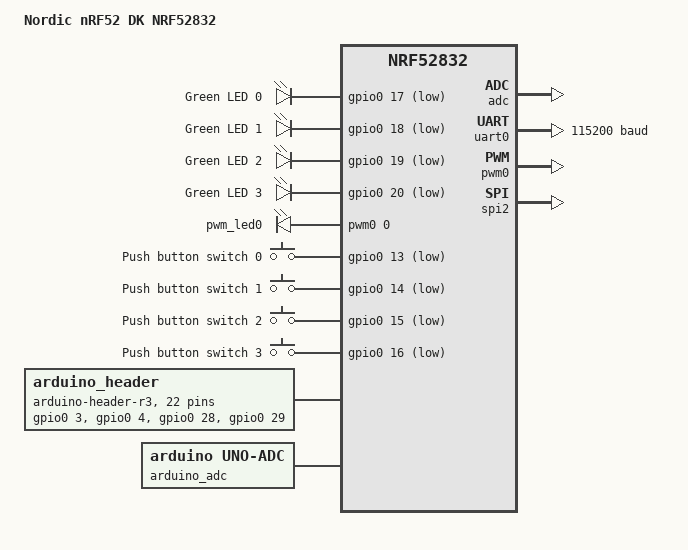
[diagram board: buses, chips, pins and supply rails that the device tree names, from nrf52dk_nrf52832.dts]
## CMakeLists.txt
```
cmake_minimum_required(VERSION 3.20.0)


if(DEFINED CUSTOM_BOILERPLATE)
    include(${CUSTOM_BOILERPLATE})
    return()
endif()

set(COMMON_PATH ${CMAKE_CURRENT_LIST_DIR}/common)
include(${COMMON_PATH}/common.cmake)

GET_DEVICE_CONFIG_FILES(${BOARD} ../boards)
include_directories(
src 
)
find_package(Zephyr REQUIRED HINTS $ENV{ZEPHYR_BASE})
project(nrfx_example)
target_sources(app PRIVATE 
src/main.c
src/bluetooth/BLE.c
src/includes/MAX30003.h)
# target_compile_options(-w)
add_definitions(-w)
target_include_directories(app PRIVATE ./common)
```

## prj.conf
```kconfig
CONFIG_NRFX_SPIM1=y
# CONFIG_NRFX_SPI0=y
CONFIG_GPIO=y
# CONFIG_LOG_MODE_IMMEDIATE=y
# CONFIG_LOG_MODE_DEFERRED=n
CONFIG_LOG=y
CONFIG_PRINTK=y
CONFIG_CBPRINTF_FP_SUPPORT=y
CONFIG_BT=y
CONFIG_BT_PERIPHERAL=y
CONFIG_BT_DEVICE_NAME="Nordic_LBS"
# Enable the LBS service
# CONFIG_BT_LBS=y
# CONFIG_BT_LBS_POLL_BUTTON=y
CONFIG_DK_LIBRARY=y
# Increase stack size for the main thread and System Workqueue
CONFIG_SYSTEM_WORKQUEUE_STACK_SIZE=2048
CONFIG_MAIN_STACK_SIZE=20000
CONFIG_LOG_BUFFER_SIZE=10240

CONFIG_IDLE_STACK_SIZE=2048
#ringbuffer
CONFIG_RING_BUFFER=y
CONFIG_TIMING_FUNCTIONS=y
CONFIG_NCS_SAMPLES_DEFAULTS=y
CONFIG_BT_L2CAP_TX_MTU=247


CONFIG_RTC=y
CONFIG_NRFX_RTC2=y
```

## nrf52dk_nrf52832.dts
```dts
/*
 * Copyright (c) 2017 Shawn Nock <shawn@monadnock.ca>
 * Copyright (c) 2017 Linaro Limited
 *
 * SPDX-License-Identifier: Apache-2.0
 */

/dts-v1/;
#include <nordic/nrf52832_qfaa.dtsi>
#include "nrf52dk_nrf52832-pinctrl.dtsi"
#include <zephyr/dt-bindings/input/input-event-codes.h>

/ {
	model = "Nordic nRF52 DK NRF52832";
	compatible = "nordic,nrf52-dk-nrf52832";

	chosen {
		zephyr,console = &uart0;
		zephyr,shell-uart = &uart0;
		zephyr,uart-mcumgr = &uart0;
		zephyr,bt-mon-uart = &uart0;
		zephyr,bt-c2h-uart = &uart0;
		zephyr,sram = &sram0;
		zephyr,flash = &flash0;
		zephyr,code-partition = &slot0_partition;
	};

	leds {
		compatible = "gpio-leds";
		led0: led_0 {
			gpios = <&gpio0 17 GPIO_ACTIVE_LOW>;
			label = "Green LED 0";
		};
		led1: led_1 {
			gpios = <&gpio0 18 GPIO_ACTIVE_LOW>;
			label = "Green LED 1";
		};
		led2: led_2 {
			gpios = <&gpio0 19 GPIO_ACTIVE_LOW>;
			label = "Green LED 2";
		};
		led3: led_3 {
			gpios = <&gpio0 20 GPIO_ACTIVE_LOW>;
			label = "Green LED 3";
		};
	};

	pwmleds {
		compatible = "pwm-leds";
		pwm_led0: pwm_led_0 {
			pwms = <&pwm0 0 PWM_MSEC(20) PWM_POLARITY_INVERTED>;
		};
	};

	buttons {
		compatible = "gpio-keys";
		button0: button_0 {
			gpios = <&gpio0 13 (GPIO_PULL_UP | GPIO_ACTIVE_LOW)>;
			label = "Push button switch 0";
			zephyr,code = <INPUT_KEY_0>;
		};
		button1: button_1 {
			gpios = <&gpio0 14 (GPIO_PULL_UP | GPIO_ACTIVE_LOW)>;
			label = "Push button switch 1";
			zephyr,code = <INPUT_KEY_1>;
		};
		button2: button_2 {
			gpios = <&gpio0 15 (GPIO_PULL_UP | GPIO_ACTIVE_LOW)>;
			label = "Push button switch 2";
			zephyr,code = <INPUT_KEY_2>;
		};
		button3: button_3 {
			gpios = <&gpio0 16 (GPIO_PULL_UP | GPIO_ACTIVE_LOW)>;
			label = "Push button switch 3";
			zephyr,code = <INPUT_KEY_3>;
		};
	};

	arduino_header: connector {
		compatible = "arduino-header-r3";
		#gpio-cells = <2>;
		gpio-map-mask = <0xffffffff 0xffffffc0>;
		gpio-map-pass-thru = <0 0x3f>;
		gpio-map = <0 0 &gpio0 3 0>,	/* A0 */
			   <1 0 &gpio0 4 0>,	/* A1 */
			   <2 0 &gpio0 28 0>,	/* A2 */
			   <3 0 &gpio0 29 0>,	/* A3 */
			   <4 0 &gpio0 30 0>,	/* A4 */
			   <5 0 &gpio0 31 0>,	/* A5 */
			   <6 0 &gpio0 11 0>,	/* D0 */
			   <7 0 &gpio0 12 0>,	/* D1 */
			   <8 0 &gpio0 13 0>,	/* D2 */
			   <9 0 &gpio0 14 0>,	/* D3 */
			   <10 0 &gpio0 15 0>,	/* D4 */
			   <11 0 &gpio0 16 0>,	/* D5 */
			   <12 0 &gpio0 17 0>,	/* D6 */
			   <13 0 &gpio0 18 0>,	/* D7 */
			   <14 0 &gpio0 19 0>,	/* D8 */
			   <15 0 &gpio0 20 0>,	/* D9 */
			   <16 0 &gpio0 22 0>,	/* D10 */
			   <17 0 &gpio0 23 0>,	/* D11 */
			   <18 0 &gpio0 24 0>,	/* D12 */
			   <19 0 &gpio0 25 0>,	/* D13 */
			   <20 0 &gpio0 26 0>,	/* D14 */
			   <21 0 &gpio0 27 0>;	/* D15 */
	};

	arduino_adc: analog-connector {
		compatible = "arduino,uno-adc";
		#io-channel-cells = <1>;
		io-channel-map = <0 &adc 1>,	/* A0 = P0.3 = AIN1 */
				 <1 &adc 2>,	/* A1 = P0.4 = AIN2 */
				 <2 &adc 4>,	/* A2 = P0.28 = AIN4 */
				 <3 &adc 5>,	/* A3 = P0.29 = AIN5 */
				 <4 &adc 6>,	/* A4 = P0.30 = AIN6 */
				 <5 &adc 7>;	/* A5 = P0.31 = AIN7 */
	};

	/* These aliases are provided for compatibility with samples */
	aliases {
		led0 = &led0;
		led1 = &led1;
		led2 = &led2;
		led3 = &led3;
		pwm-led0 = &pwm_led0;
		sw0 = &button0;
		sw1 = &button1;
		sw2 = &button2;
		sw3 = &button3;
		bootloader-led0 = &led0;
		mcuboot-button0 = &button0;
		mcuboot-led0 = &led0;
		watchdog0 = &wdt0;
	};
};

&adc {
	status = "okay";
};

&uicr {
	gpio-as-nreset;
};

&gpiote {
	status = "okay";
};

&gpio0 {
	status = "okay";
};

arduino_serial: &uart0 {
	status = "okay";
	compatible = "nordic,nrf-uarte";
	current-speed = <115200>;
	pinctrl-0 = <&uart0_default>;
	pinctrl-1 = <&uart0_sleep>;
	pinctrl-names = "default", "sleep";
};

arduino_i2c: &i2c0 {
	compatible = "nordic,nrf-twi";
	// status = "okay";
	pinctrl-0 = <&i2c0_default>;
	pinctrl-1 = <&i2c0_sleep>;
	pinctrl-names = "default", "sleep";
};

&i2c1 {
	compatible = "nordic,nrf-twi";
	/* Cannot be used together with spi1. */
	/* status = "okay"; */
	pinctrl-0 = <&i2c1_default>;
	pinctrl-1 = <&i2c1_sleep>;
	pinctrl-names = "default", "sleep";
};

&pwm0 {
	status = "okay";
	pinctrl-0 = <&pwm0_default>;
	pinctrl-1 = <&pwm0_sleep>;
	pinctrl-names = "default", "sleep";
};

&spi0 {
	compatible = "nordic,nrf-spi";
	/* Cannot be used together with i2c0. */
	/* status = "okay"; */
	pinctrl-0 = <&spi0_default>;
	pinctrl-1 = <&spi0_sleep>;
	pinctrl-names = "default", "sleep";
};

&spi1 {
	compatible = "nordic,nrf-spi";
	// status = "okay";
	pinctrl-0 = <&spi1_default>;
	pinctrl-1 = <&spi1_sleep>;
	pinctrl-names = "default", "sleep";
};

arduino_spi: &spi2 {
	compatible = "nordic,nrf-spi";
	status = "okay";
	cs-gpios = <&arduino_header 16 GPIO_ACTIVE_LOW>; /* D10 */
	pinctrl-0 = <&spi2_default>;
	pinctrl-1 = <&spi2_sleep>;
	pinctrl-names = "default", "sleep";
};

&flash0 {

	partitions {
		compatible = "fixed-partitions";
		#address-cells = <1>;
		#size-cells = <1>;

		boot_partition: partition@0 {
			label = "mcuboot";
			reg = <0x00000000 0xc000>;
		};
		slot0_partition: partition@c000 {
			label = "image-0";
			reg = <0x0000C000 0x37000>;
		};
		slot1_partition: partition@43000 {
			label = "image-1";
			reg = <0x00043000 0x37000>;
		};
		storage_partition: partition@7a000 {
			label = "storage";
			reg = <0x0007a000 0x00006000>;
		};
	};
};
```

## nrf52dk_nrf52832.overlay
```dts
#include "./common/common-pinctrl.dtsi"


/{

    gpiocustom {
        compatible = "gpio-keys" ;
        gpiocust1: gpio_1 {
            gpios = <&gpio0 2 (GPIO_ACTIVE_LOW | GPIO_PULL_UP)>;
            label = " csutom pin 2";
        };
        gpiocust2: gpio_2 {
            gpios = <&gpio0 28 ( GPIO_ACTIVE_LOW | GPIO_PULL_UP)>;
            label = " csutom pin 28";
        };
     
		// gpiocust3: gpio_3 {
        //     gpios = <&gpio0 3 ( GPIO_PULL_UP)>;
        //     label = " MOSI";
        // };
		// gpiocust4: gpio_4 {
        //     gpios = <&gpio0 31 (  GPIO_PULL_UP)>;
        //     label = " MISO";
        // };
		

     };
};

&i2c0 {	status = "disabled";};
&spi0 {	status = "okay";};
&i2c1 {	status = "disabled";};

&spi1 {
    status = "disabled";
    compatible = "nordic,nrf-spim";
    pinctrl-0 = <&spi1_default>;
	pinctrl-1 = <&spi1_sleep>;
};

&pinctrl {
	// spi1_default: spi1_default {
	// 	group1 {
	// 			psels = <NRF_PSEL(SPIM_SCK, 0, 4)>,
	// 					<NRF_PSEL(SPIM_MOSI, 0, 6)>,
	// 					<NRF_PSEL(SPIM_MISO, 0, 7)>;
	// 	};
	// };

	// spi1_sleep: spi1_sleep {
	// 	group1 {
	// 			psels = <NRF_PSEL(SPIM_SCK, 0, 4)>,
	// 					<NRF_PSEL(SPIM_MOSI, 0, 6)>,
	// 					<NRF_PSEL(SPIM_MISO, 0, 7)>;
	// 			low-power-enable;
	// 	};
	// };
};
&arduino_header {
    gpio-map = <0 0 &gpio0 3 0>,
               <1 0 &gpio0 4 0>,
               <2 0 &gpio0 28 0>,
               <3 0 &gpio0 29 0>,
               <4 0 &gpio0 30 0>,
               <5 0 &gpio0 31 0>,
               <6 0 &gpio0 11 0>,
               <7 0 &gpio0 12 0>,
               <8 0 &gpio0 13 0>,
               <9 0 &gpio0 14 0>,
               <10 0 &gpio0 15 0>,
               <11 0 &gpio0 16 0>,
               <12 0 &gpio0 17 0>,
               <13 0 &gpio0 18 0>,
               <14 0 &gpio0 19 0>,
               <15 0 &gpio0 20 0>,
               <16 0 &gpio0 22 0>,
               <17 0 &gpio0 23 0>,
               <18 0 &gpio0 24 0>,
               <19 0 &gpio0 25 0>,
               <20 0 &gpio0 26 0>,
               <21 0 &gpio0 27 0>;
};
```

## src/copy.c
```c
/*
 * Copyright (c) 2022 - 2024, Nordic Semiconductor ASA
 * All rights reserved.
 *
 * SPDX-License-Identifier: BSD-3-Clause
 *
 * Redistribution and use in source and binary forms, with or without
 * modification, are permitted provided that the following conditions are met:
 *
 * 1. Redistributions of source code must retain the above copyright notice, this
 *    list of conditions and the following disclaimer.
 *
 * 2. Redistributions in binary form must reproduce the above copyright
 *    notice, this list of conditions and the following disclaimer in the
 *    documentation and/or other materials provided with the distribution.
 *
 * 3. Neither the name of the copyright holder nor the names of its
 *    contributors may be used to endorse or promote products derived from this
 *    software without specific prior written permission.
 *
 * THIS SOFTWARE IS PROVIDED BY THE COPYRIGHT HOLDERS AND CONTRIBUTORS "AS IS"
 * AND ANY EXPRESS OR IMPLIED WARRANTIES, INCLUDING, BUT NOT LIMITED TO, THE
 * IMPLIED WARRANTIES OF MERCHANTABILITY AND FITNESS FOR A PARTICULAR PURPOSE
 * ARE DISCLAIMED. IN NO EVENT SHALL THE COPYRIGHT HOLDER OR CONTRIBUTORS BE
 * LIABLE FOR ANY DIRECT, INDIRECT, INCIDENTAL, SPECIAL, EXEMPLARY, OR
 * CONSEQUENTIAL DAMAGES (INCLUDING, BUT NOT LIMITED TO, PROCUREMENT OF
 * SUBSTITUTE GOODS OR SERVICES; LOSS OF USE, DATA, OR PROFITS; OR BUSINESS
 * INTERRUPTION) HOWEVER CAUSED AND ON ANY THEORY OF LIABILITY, WHETHER IN
 * CONTRACT, STRICT LIABILITY, OR TORT (INCLUDING NEGLIGENCE OR OTHERWISE)
 * ARISING IN ANY WAY OUT OF THE USE OF THIS SOFTWARE, EVEN IF ADVISED OF THE
 * POSSIBILITY OF SUCH DAMAGE.
 */
#include <zephyr/kernel.h>
#include <nrfx_example.h>
#include <nrfx_spim.h>
#include <zephyr/drivers/gpio.h>
#include <includes/MAX30003.h>
#include <nrfx_log.h>
#include <zephyr/sys/time_units.h>
#include <stdlib.h>
#include <zephyr/timing/timing.h>
#include <zephyr/bluetooth/bluetooth.h>
#include <zephyr/bluetooth/hci.h>
#include <zephyr/bluetooth/conn.h>
#include <zephyr/bluetooth/uuid.h>
#include <zephyr/bluetooth/gatt.h>
#include <bluetooth/BLE.h>
// #include <zephyr/sys/printk.h>
#define NRFX_LOG_MODULE                 EXAMPLE
#define NRFX_EXAMPLE_CONFIG_LOG_ENABLED 1
#define NRFX_EXAMPLE_CONFIG_LOG_LEVEL   3

// SPIM pin initializaiton 
#define SPIM_INST_IDX 1
#define MO_PIN 3
#define MI_PIN 31
#define SCLK_PIN 4
#define MSG_TO_SEND "Nordic Semiconductor"
#define SS_PIN 27
nrfx_spim_t spim_inst = NRFX_SPIM_INSTANCE(SPIM_INST_IDX);
static const struct gpio_dt_spec intB_gpio_pin =   GPIO_DT_SPEC_GET_OR(DT_NODELABEL(gpiocust1), gpios, {0});
static const struct gpio_dt_spec intB_gpio_pin_time =   GPIO_DT_SPEC_GET_OR(DT_NODELABEL(gpiocust2), gpios, {0});
// static const struct gpio_dt_spec MISO =   GPIO_DT_SPEC_GET_OR(DT_NODELABEL(gpiocust4), gpios, {0});
// static const struct gpio_dt_spec MOSI =   GPIO_DT_SPEC_GET_OR(DT_NODELABEL(gpiocust3), gpios, {0});


// Maxim30003 bit constants
int EINT_STATUS =  1 << 23;
int RTOR_STATUS =  1 << 10;
int DCL_OFF = 1<<20;
int DCL_ON = 1<<11; 
int RTOR_REG_OFFSET = 10;
float RTOR_LSB_RES = 0.0078125f;
int FIFO_OVF =  0x7;
int FIFO_VALID_SAMPLE =  0x0;
int FIFO_FAST_SAMPLE =  0x1;
int ETAG_BITS = 0x7;
int FIFO_EMPTY = 0x6;

#define ADC_NUMBER_OF_BITS   (18u)
#define ADC_SIGN_MASK        (1u << (ADC_NUMBER_OF_BITS-1))
#define ADC_NUMBER_MASK      (ADC_SIGN_MASK-1u)
#define ADC_FIELD_MASK       (ADC_SIGN_MASK | ADC_NUMBER_MASK)

//Maxim registers
union GeneralConfiguration_u CNFG_GEN_r;
union CalConfiguration_u CAL_CONFG_r;
  union EnableInterrupts_u EN_INT_r;
	union ECGConfiguration_u CNFG_ECG_r;
   	union RtoR1Configuration_u CNFG_RTOR_r;
    union ManageInterrupts_u MNG_INT_r;
     union ManageDynamicModes_u MNG_DYN_r;
    union MuxConfiguration_u CNFG_MUX_r;
// ECG related buffers and variables
volatile bool ecgIntFlag = false;
volatile uint8_t m_tx_buffer[4];
volatile uint8_t m_rx_buffer[4];
static uint8_t ecg_tx_buffer[13];
static uint8_t ecg_rx_buffer[13];

static uint8_t txB[1];
static uint8_t rxB;
uint32_t RtoR, idx, stat;

uint8_t ETAG[32];
uint32_t ecgFIFO;
int32_t ecgSample[17];
float BPM=0.0f;

volatile bool spiXferComplete = false;

// #define nodeId DT_NODELABEL(test)
// timing vars
int64_t ecg_start, ecg_end, ecg_start_m, ecg_end_m;
  

void spin(){
    while(!spiXferComplete){
      // printk("\n spinning \n");
    }
    spiXferComplete = false;
}
void writeRegister(enum Registers_e reg, const uint32_t data)
{
    
	m_tx_buffer[0] = reg << 1;
	m_tx_buffer[1] = ((0x00FF0000 & data) >> 16);
	m_tx_buffer[2] = ((0x0000FF00 & data) >> 8);
	m_tx_buffer[3] = ( 0x000000FF & data);
    nrfx_spim_xfer_desc_t spim_xfer_desc = NRFX_SPIM_XFER_TRX(m_tx_buffer, sizeof(m_tx_buffer), m_rx_buffer, sizeof(m_rx_buffer));
    gpio_pin_set_dt(&intB_gpio_pin_time, 1);
    nrfx_spim_xfer(&spim_inst, &spim_xfer_desc, 0);
    
    spin();
    gpio_pin_set_dt(&intB_gpio_pin_time, 0);
    k_msleep(100);
    printk("\n");
}

uint32_t readRegister(enum Registers_e reg)
{
  
  nrfx_err_t err;
    uint32_t data = 0;
	m_tx_buffer[0] = ((reg << 1) | 1);
    m_tx_buffer[1] = 0x00;
    m_tx_buffer[2] = 0x00;
    m_tx_buffer[3] = 0x00;

    m_rx_buffer[0] = 7;
    m_rx_buffer[1] = 7;
    m_rx_buffer[2] = 7;
    m_rx_buffer[3] = 7;
    txB[0] = m_tx_buffer[0];
    gpio_pin_set_dt(&intB_gpio_pin_time, 1);
    nrfx_spim_xfer_desc_t spim_xfer_desc = NRFX_SPIM_XFER_TRX(m_tx_buffer, sizeof(m_tx_buffer), m_rx_buffer, sizeof(m_rx_buffer));
    nrfx_spim_xfer(&spim_inst, &spim_xfer_desc, 0);
    spin();
    gpio_pin_set_dt(&intB_gpio_pin_time, 0);
	data |= m_rx_buffer[1] ;
    data = data << 8;
    data |= m_rx_buffer[2] ;
    data = data << 8;
     data |= m_rx_buffer[3] ;
    //  k_msleep(100);
     //printk("\ndata rxd %u %u %u %u\n", m_rx_buffer[0],m_rx_buffer[1],m_rx_buffer[2],m_rx_buffer[3]);
    return data;
   
}


uint32_t* readECG(enum Registers_e reg)
{
    ecg_tx_buffer[0] = ((reg << 1) | 1);
    nrfx_spim_xfer_desc_t spim_xfer_desc = NRFX_SPIM_XFER_TRX(ecg_tx_buffer, sizeof(ecg_tx_buffer), ecg_rx_buffer, sizeof(ecg_rx_buffer));
    nrfx_spim_xfer(&spim_inst, &spim_xfer_desc, 0);
    uint32_t* data = malloc(sizeof(uint32_t)* 4);
    for(int i = 0; i<4  ; i++){
        uint32_t dIn = 0;
        dIn |= ecg_rx_buffer[(3*i)+1] ;
        dIn = dIn << 8;
        dIn |= ecg_rx_buffer[(3*i)+2] ;
        dIn = dIn << 8;
        dIn |= ecg_rx_buffer[(3*i)+3] ;
        data[i] = dIn;
    }
    return data;
}

  
    // union ECG_FIFO_BURST

void regCheck(){
    EN_INT_r.all = 0x80000;
  writeRegister( EN_INT , EN_INT_r.all);
    printk("%x\n",readRegister(EN_INT));
    NRFX_EXAMPLE_LOG_PROCESS();
}


void ecg_config2(){
  writeRegister( SW_RST , 0);
  CNFG_GEN_r.all = 0x80000;
    writeRegister( CNFG_GEN , 0x80000);
    CAL_CONFG_r.all = 0;
      writeRegister( CNFG_CAL , 0);
        CNFG_MUX_r.all = 0;
        writeRegister( CNFG_EMUX , 0);
        CNFG_ECG_r.all = 0x805000;
          writeRegister( CNFG_ECG , 0x805000);
          CNFG_RTOR_r.all = 0x3F6300;
            writeRegister( CNFG_RTOR1 , 0x3F6300); 
            writeRegister( CNFG_RTOR2 , 0x202400);
            //  writeRegister( CNFG_RTOR1 , 0x3F6300);
}
void ecg_config() { 
    writeRegister( SW_RST , 0);
     
    // General config register setting
    
    CNFG_GEN_r.bits.en_ecg = 1;     // Enable ECG channel
    CNFG_GEN_r.bits.rbiasn = 1   ;  // Enable resistive bias on negative input
    CNFG_GEN_r.bits.rbiasp = 1;     // Enable resistive bias on positive input
    CNFG_GEN_r.bits.en_rbias = 1;   // Enable resistive bias
     CNFG_GEN_r.bits.imag = 2;       // Current magnitude = 10nA
    // CNFG_GEN_r.bits.fmstr = 0;
    CNFG_GEN_r.bits.en_dcloff = 1;  // Enable DC lead-off detection   
    //printk("CNFG_GEN_r.all %x\n",CNFG_GEN_r.all);
    //CNFG_GEN_r.all = 0x081007;
    writeRegister( CNFG_GEN , CNFG_GEN_r.all);
 
    
    // ECG Config register setting
   
    CNFG_ECG_r.bits.dlpf = 1;       // Digital LPF cutoff = 40Hz
    CNFG_ECG_r.bits.dhpf = 1;       // Digital HPF cutoff = 0.5Hz
    CNFG_ECG_r.bits.gain = 3;       // ECG gain = 160V/V, 3
    CNFG_ECG_r.bits.rate = 2;   //chng ss from 2(128sps) to 0(512sps)    // Sample rate = 128 sps
    //CNFG_ECG_r.all = 0x005000;
    writeRegister( CNFG_ECG , CNFG_ECG_r.all);
    //printk("CNFG_ECG_r.all %u\n",CNFG_ECG_r.all);  

 
    
   
    CNFG_RTOR_r.bits.wndw = 0b0011;         // WNDW       = 96ms
    CNFG_RTOR_r.bits.en_rtor = 1; // enabling rtor detection 
    CNFG_RTOR_r.bits.rgain = 0b1111;        // Auto-scale gain
    CNFG_RTOR_r.bits.pavg = 0b11;           // 16-average
    CNFG_RTOR_r.bits.ptsf = 0b0011;         // PTSF = 4/16
    CNFG_RTOR_r.bits.en_rtor = 1;           // Enable R-to-R detection 1->0
    writeRegister( CNFG_RTOR1 , CNFG_RTOR_r.all);
     
        
    //Manage interrupts register setting
    
    MNG_INT_r.bits.efit = 1;//;          // Assert EINT w/ 4 unread samples
    MNG_INT_r.bits.clr_rrint = 1;// Clear R-to-R on RTOR reg. read back
    //  MNG_INT_r.bits.clr_samp= 1;
    writeRegister( MNGR_INT , MNG_INT_r.all);
  
    // printk("MNG_INT_r.all %u\n",MNG_INT_r.all);
    
    
    //Enable interrupts register setting
    
    EN_INT_r.bits.en_eint = 1;              // Enable EINT interrupt
    // EN_INT_r.bits.en_dcloffint = 0; // ak
    // EN_INT_r.bits.en_loint = 0 ;//ak
    // EN_INT_r.bits.en_pllint = 1 ;//ak
// EN_INT_r.bits.en_samp = 0;
    EN_INT_r.bits.en_rrint = 1;             // Enable R-to-R interrupt
    EN_INT_r.bits.intb_type = 3;            // Open-drain NMOS with internal pullup
    writeRegister( EN_INT , EN_INT_r.all);
  
       
    //Dyanmic modes config
    MNG_DYN_r.bits.fast = 0;                // Fast recovery mode disabled
    writeRegister( MNGR_DYN , MNG_DYN_r.all);
    // MUX Config
    CNFG_MUX_r.bits.openn = 0;          // Connect ECGN to AFE channel ss-> (0->1)
    CNFG_MUX_r.bits.openp = 0;          // Connect ECGP to AFE channel ss-> (0->1)
    //ss
    // CNFG_MUX_r.bits.caln_sel = 1;
   writeRegister( CNFG_EMUX , CNFG_MUX_r.all);

// //ss
//    union CalConfiguration_u CAL_CONFG_r;
//    CAL_CONFG_r.bits.en_vcal = 1;
//    CAL_CONFG_r.bits.vmode = 0;
//    CAL_CONFG_r.bits.fcal = 1;
//    writeRegister( CNFG_CAL , CAL_CONFG_r.all);
    
    return;
}  
static struct gpio_callback maxim_intB;

void maxim_interrupt(){
    // ecg_start = k_uptime_get();
    //printk("\nintterupted\n");
    ecgIntFlag = true; 
    
}

#define DEVICE_NAME CONFIG_BT_DEVICE_NAME
#define DEVICE_NAME_LEN (sizeof(DEVICE_NAME) - 1)

#define RUN_STATUS_LED DK_LED1
#define CON_STATUS_LED DK_LED2
#define RUN_LED_BLINK_INTERVAL 25

#define USER_LED DK_LED3

#define USER_BUTTON DK_BTN1_MSK

static bool app_button_state;

static const struct bt_data ad[] = {
	BT_DATA_BYTES(BT_DATA_FLAGS, (BT_LE_AD_GENERAL | BT_LE_AD_NO_BREDR)),
	BT_DATA(BT_DATA_NAME_COMPLETE, DEVICE_NAME, DEVICE_NAME_LEN),
};

static const struct bt_data sd[] = {
	BT_DATA_BYTES(BT_DATA_UUID128_ALL, BT_UUID_LBS_VAL),
};

static void connected(struct bt_conn *conn, uint8_t err)
{
	if (err) {
		printk("Connection failed (err %u)\n", err);
		return;
	}

	printk("Connected\n");

	//dk_set_led_on(CON_STATUS_LED);
}

static void disconnected(struct bt_conn *conn, uint8_t reason)
{
    
	printk("Disconnected (reason %u)\n", reason);

	//dk_set_led_off(CON_STATUS_LED);
}
BT_CONN_CB_DEFINE(conn_callbacks) = {
	.connected = connected,
	.disconnected = disconnected,
#ifdef CONFIG_BT_LBS_SECURITY_ENABLED
	.security_changed = security_changed,
#endif
};
void configureGPIO()
{
	int ret;
	ret = gpio_pin_configure_dt(&intB_gpio_pin, GPIO_INPUT );
    ret = gpio_pin_configure_dt(&intB_gpio_pin_time, GPIO_OUTPUT );
    bool status = false;
    ret = gpio_pin_interrupt_configure_dt(&intB_gpio_pin, GPIO_INT_EDGE_TO_ACTIVE );
    gpio_init_callback(&maxim_intB, maxim_interrupt, BIT(intB_gpio_pin.pin));
    gpio_add_callback(intB_gpio_pin.port, &maxim_intB);
}
static void spi_event_handler(nrfx_spim_evt_t const *event, void *context)
{
  if(event->type == NRFX_SPIM_EVENT_DONE)
  {
    spiXferComplete = true;
    //printk("\n event done \n");
  }
}
int main(void)
{
    nrfx_err_t status1;
    (void) status1;
   int err;
#if defined(__ZEPHYR__)
    IRQ_CONNECT(NRFX_IRQ_NUMBER_GET(NRF_SPIM_INST_GET(SPIM_INST_IDX)), IRQ_PRIO_LOWEST,
                NRFX_SPIM_INST_HANDLER_GET(SPIM_INST_IDX), 0, 0);
#endif

    
    NRFX_EXAMPLE_LOG_INIT();

		err = bt_enable(NULL);
		if (err) {
			printk("Bluetooth init failed (err %d)\n", err);
			return;
		}

		printk("Bluetooth initialized\n");

		if (IS_ENABLED(CONFIG_SETTINGS)) {
			settings_load();
		}


		err = bt_le_adv_start(BT_LE_ADV_CONN, ad, ARRAY_SIZE(ad), sd, ARRAY_SIZE(sd));
		if (err) {
			printk("Advertising failed to start (err %d)\n", err);
			return;
		}

		printk("Advertising successfully started\n");  
        printk("---------------------main funciton-------------\n");
        NRFX_EXAMPLE_LOG_PROCESS();
    
    nrfx_spim_config_t spim_config = NRFX_SPIM_DEFAULT_CONFIG(SCLK_PIN,
                                                              MO_PIN,
                                                              MI_PIN,
                                                              27);
                   // spim_config.miso_pull      = NRF_GPIO_PIN_PULLDOWN;
                    spim_config.frequency = 125000;
                  //  spim_config.orc = 0x00;
                    spim_config.mode = NRF_SPIM_MODE_0;
    status1 = nrfx_spim_init(&spim_inst, &spim_config, spi_event_handler, NULL);
    NRFX_ASSERT(status1 == NRFX_SUCCESS);
    configureGPIO();
 
//     writeRegister( SW_RST , 0);
//     //EN_INT_r.bits.en_eint = 1;
// EN_INT_r.all = 0x00800000;
// //     // writeRegister( EN_INT , EN_INT_r.all);
   
//    // writeRegister( EN_INT , EN_INT_r.all);
//      writeRegister( SYNCH, 0);
// //     readRegister(EN_INT);
//     while(true){
//         // printk("\n ")
        
//         regCheck();
      
     
//     }
     ecg_config();
    //printk("MNG_INT_r.all %u\n",MNG_INT_r.all);
    //while(1){}


//     bool state = false;
//     int ecg_count = 0;
    
    
//     NRFX_EXAMPLE_LOG_PROCESS();
//     ecg_start = 0;
   
//    int toggle = 0;
//     uint32_t arr ;
//         int pllCheck =0;
//     writeRegister( SYNCH , 0);
    // while (  true  ){ 
        
    // uint32_t en_int = readRegister(EN_INT);
    // uint32_t rtor = readRegister(CNFG_RTOR1);
    // uint32_t mngr_int = readRegister(MNGR_INT);
    // uint32_t cnfg_gen = readRegister(CNFG_GEN);
    // uint32_t cnfg_ecg = readRegister(CNFG_ECG);

    // printk("\nEN_INT: read -> %x written -> %x \n",en_int, EN_INT_r.all);
    // printk("\nCNFG_RTOR1: read -> %x written -> %x\n",rtor, CNFG_RTOR_r.all);
    // printk("\nMNGR_INT: read -> %x writetn -> %x\n",mngr_int, MNG_INT_r.all);
    // printk("\nCNFG_GEN: read -> %x written -> %x\n",cnfg_gen,  CNFG_GEN_r.all);
    // printk("\nCNFG_ECG: read -> %x written -> %x\n",cnfg_ecg, CNFG_ECG_r.all);

//   if(en_int == EN_INT_r.all && rtor == CNFG_RTOR_r.all && mngr_int == MNG_INT_r.all && cnfg_gen == CNFG_GEN_r.all && cnfg_ecg ==  CNFG_ECG_r.all ){
//         printk("All registers done");
//         break;
//     }
    

    // while(true){
        
    //     arr = readRegister(STATUS );

        
    //     if((arr & 256)){
    //     printk("\nPLL Interrupt - pre SYNCH\n");
    //         // break;
    //     }
        
    //     else {
    //            printk(" \n No PLL \n");
    //         break;
         
    //     }
    // }
       
         NRFX_EXAMPLE_LOG_PROCESS();
  
   //// writeRegister( SYNCH , 0);
   
        
// break;
   
	while (1) 
	{
    //   printk("\n looping \n");
        NRFX_EXAMPLE_LOG_PROCESS();

		if(intB_gpio_pin.port)
		{
            
           // printk("\necg %d\n",ecgIntFlag);
                 
 			if(ecgIntFlag) 
			{
                // Samples obtained in 1000 ms
                
                // if(ecg_end-ecg_start >= 1000){
                //     printk("{time for %d in ms = %lld}\n",ecg_count,ecg_end-ecg_start);
                //     ecg_count = 0;
                //     ecg_start = k_uptime_get();
                // }
                uint8_t sampleCount = 0;
				ecgIntFlag = false;
				uint32_t cond_bits = readRegister( STATUS );      // Read the STATUS register
/*              //  if((cond_bits & 256)){
                // printk("\nPLL INTERRUPT\n");

                // 	writeRegister( SYNCH , 0);
                // }
				// NRFX_ASSERT(!cond_bits & DCL_OFF);
                // NRFX_ASSERT(!cond_bits & DCL_ON);
                    // while(true){
                    //     if((cond_bits & 256)){
                    //    // printk("\nPLL Interrupt -Inside\n");

                    //         // break;
                    //     }
                        
                    //     else {
                    //         //printk(" \n No PLL \n");
                    //         break;
                        
                    //     }
                     //   cond_bits = readRegister( STATUS );
                    //}

*/
				if( ( cond_bits & RTOR_STATUS ) == RTOR_STATUS ){           
					RtoR = readRegister( RTOR ) >>  RTOR_REG_OFFSET;   
					BPM = 1.0f / ( RtoR * RTOR_LSB_RES / 60.0f );   
                }  
				// Check if EINT interrupt asserted
				if ( ( cond_bits & EINT_STATUS ) == EINT_STATUS ) {  
                    
                        // uint32_t* ecg = readECG( ECG_FIFO_BURST );       // Read FIFO
                        // for(int i = 0; i < 4; i++){
                        //     ecgFIFO = ecg[i];
                        //     ecgSample[sampleCount] = ( ecgFIFO & 0x00FFFFFF ) >> 6;
                        //     if( ecgSample[sampleCount]  & 0x0002FFFF )   ecgSample[sampleCount] = ecgSample[sampleCount] | 0xFFFC0000;

                        //     ETAG[sampleCount] = ( ecgFIFO >> 3 ) & ETAG_BITS;  // Isolate ETAG
                        // // printk("\necgFIFO %x - %x - %x %d\n", ecgFIFO, (( ecgFIFO >> 3 )), ( ecgFIFO >> 3 ) & ETAG_BITS, ETAG[sampleCount]);
                        // //  printk("\nuint32 fifo %x 18bits ECG - %x ETAG - %u\n",ecgFIFO, ecgSample[sampleCount], ETAG[sampleCount] );
                        //     // printk("\n%x -> %x|0x%u %u\n", ecgFIFO, ecgSample[sampleCount],ETAG[sampleCount] , sampleCount);
                        //     printk("\n%d", ecgSample[sampleCount]  );
                        
                        // sampleCount++;   
                        // }      
					do {
						                                 // Increment sample counter                                          
                        ecgFIFO = readRegister( ECG_FIFO );
                        // int32_t ecgVal = (m_rx_buffer[1]<<16 ) | (m_rx_buffer[2] << 8) | (m_rx_buffer[3] & 0b11000000);
                        // if ( ecgVal & ADC_SIGN_MASK )
                        // {
                        //     // Sign extend the -ve 24-bit value to a -ve 32-bit value
                        //     ecgVal |= ~(int32_t)ADC_NUMBER_MASK;
                        // }
                        // int32_t ecgData = (signed long) ecgVal;
                        // int32_t d = (int32_t)m_rx_buffer[1] << 16;
                        // d = d | ((m_rx_buffer[2] << 8) & 0x0000FF00);
                        // d = d | ((m_rx_buffer[3] ) & 0x000000FF);

                            // ecgSample[sampleCount] = ecgFIFO  >> 8;
                        //     uint32_t temp =  ( ecgFIFO & 0x00FFFFFF ) >> 6;
                        //     //  ecgSample[sampleCount] =  temp;
                        // //  //   printk(" %u-",temp);
                        //     if ( temp >= 131072)
                        //     temp =  temp - 262144 ;
                        // //  //   printk(" %u-",temp);
                            ecgSample[sampleCount] = ecgFIFO >> 8 ; //ecgVal;
                            //if( ecgSample[sampleCount]  & 0x00020000 )   ecgSample[sampleCount] = ecgSample[sampleCount] | 0xFFFC0000;
                            
                       //printk("%x-%x-%d\n", ecgFIFO & 0x00FFFFFF , (ecgFIFO & 0x00FFFFFF) >> 6,  ecgSample[sampleCount]);         
                            ETAG[sampleCount] = ( ecgFIFO >> 3 ) & ETAG_BITS;  // Isolate ETAG
                        // printk("\necgFIFO %x - %x - %x %d\n", ecgFIFO, (( ecgFIFO >> 3 )), ( ecgFIFO >> 3 ) & ETAG_BITS, ETAG[sampleCount]);
                        //  printk("\nuint32 fifo %x 18bits ECG - %x ETAG - %u\n",ecgFIFO, ecgSample[sampleCount], ETAG[sampleCount] );
                            // printk("\n%x -> %x|0x%u %u\n", ecgFIFO, ecgSample[sampleCount],ETAG[sampleCount] , sampleCount);
                            //printk("\n%d", ecgSample[sampleCount]);
                     printk(" %d\n",ecgSample[sampleCount]);//,   ecgSample[sampleCount] )  ;
                        
                      NRFX_EXAMPLE_LOG_PROCESS();
   
                        sampleCount++;   
                        // ecg_count++;
                    //  printk("\nFifo overflow check  %u\n",  sampleCount);
                    //   NRFX_EXAMPLE_LOG_PROCESS();
                        // if(sampleCount > 32){
                        //     printk("\nFifo overflow %u\n",  sampleCount);
                        //     //  NRFX_EXAMPLE_LOG_PROCESS();
                        //     break;
                        // }
                        
                       
       
					} while ( ETAG[sampleCount-1] == FIFO_VALID_SAMPLE || 
							ETAG[sampleCount-1] == FIFO_FAST_SAMPLE); 
                    //   printk("\n size : %d\n", sampleCount);
                    // printk("\n ecg read %u \n",sampleCount);
					if( ETAG[sampleCount - 1] == FIFO_OVF ){    
                         printk("\n writing FIFO RST \n");              
						writeRegister( FIFO_RST , 0); // Reset FIFO
                            // writeRegister( SYNCH , 0);
                    
					}

                    for( idx = 0; idx < sampleCount; idx++ ) {
                          printk("%6d\r\n", ecgSample[idx]);           
                        
                    }
                    // if(cN==1){
                    //    // printk("Notified enabled\n");
                    //     notifyECG(ecgSample, sampleCount);
                    //     }
                    // if( ETAG[sampleCount - 1] == FIFO_EMPTY ){
                    //       printk("\n  FIFO empty/invalid \n");
                    // }

                   
                  
					
				}
               
               
        	}
            //  printk("\n ENDIF\n");
            //  NRFX_EXAMPLE_LOG_PROCESS();
		}
        // else printk("\n port error\nn");
          
    }
    printk("\n while broken \n");
}
```
